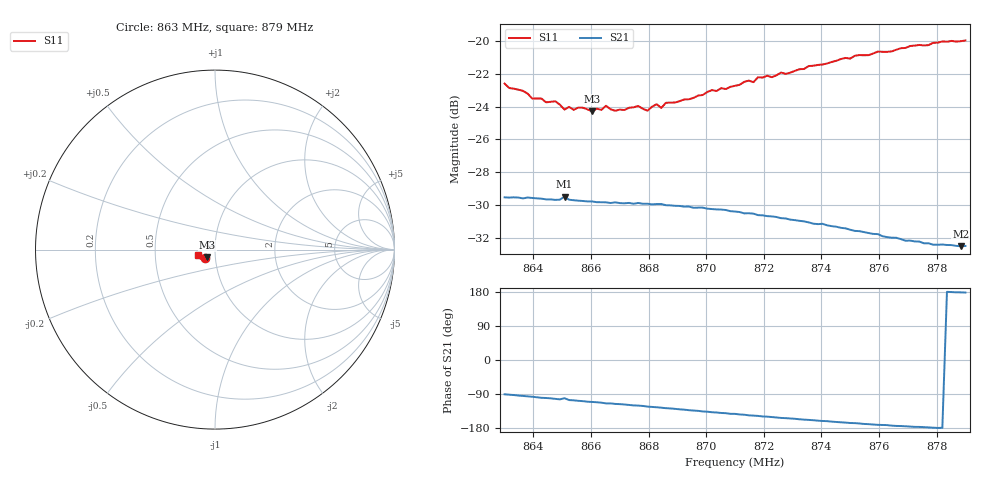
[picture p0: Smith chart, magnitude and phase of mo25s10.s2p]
# HZ S RI R 50
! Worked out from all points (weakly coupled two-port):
!   101 points, 863 MHz to 879 MHz, reference 50 ohm
!   highest |S21| = -29.49 dB at 865.08 MHz (marker M1); lowest = -32.5 dB at 878.84 MHz (marker M2)
!   lowest |S11| = -24.3 dB at 866.04 MHz (marker M3), VSWR 1.13, Z = 45.7 - j3.96 ohm
!   |S11| at or under -10 dB: start of sweep to end of sweep
!   S12 and S22 are empty: the file has one direction only
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8.63e8  -0.0581 -0.0463  -0.000272 -0.0333  0 0  0 0
8.6364e8  -0.0542 -0.0452  -0.0028 -0.033  0 0  0 0
8.6396e8  -0.052 -0.0421  -0.00402 -0.033  0 0  0 0
8.6476e8  -0.0491 -0.0435  -0.00712 -0.032  0 0  0 0
8.6508e8  -0.0437 -0.0438  -0.0063 -0.0329  0 0  0 0
8.6572e8  -0.044 -0.0446  -0.0104 -0.0308  0 0  0 0
8.6604e8  -0.0432 -0.0432  -0.0114 -0.0303  0 0  0 0
8.6652e8  -0.0439 -0.0459  -0.0133 -0.0293  0 0  0 0
8.6684e8  -0.0416 -0.045  -0.0141 -0.029  0 0  0 0
8.6764e8  -0.0415 -0.048  -0.0162 -0.0277  0 0  0 0
8.6796e8  -0.0394 -0.047  -0.0173 -0.0268  0 0  0 0
8.6828e8  -0.0406 -0.0498  -0.0181 -0.0261  0 0  0 0
8.6844e8  -0.0398 -0.0483  -0.0186 -0.0258  0 0  0 0
8.686e8  -0.0405 -0.0506  -0.019 -0.0252  0 0  0 0
8.71e8  -0.0466 -0.0563  -0.0238 -0.0185  0 0  0 0
8.7164e8  -0.0479 -0.0577  -0.0249 -0.0163  0 0  0 0
8.718e8  -0.0503 -0.0591  -0.0248 -0.0158  0 0  0 0
8.7372e8  -0.0599 -0.0592  -0.0258 -0.00996  0 0  0 0
8.7644e8  -0.078 -0.0509  -0.0249 -0.00294  0 0  0 0
8.7708e8  -0.084 -0.048  -0.0245 -0.00186  0 0  0 0
8.7884e8  -0.0939 -0.0346  -0.0236 0.000624  0 0  0 0
8.79e8  -0.0952 -0.0324  -0.0237 0.000817  0 0  0 0
